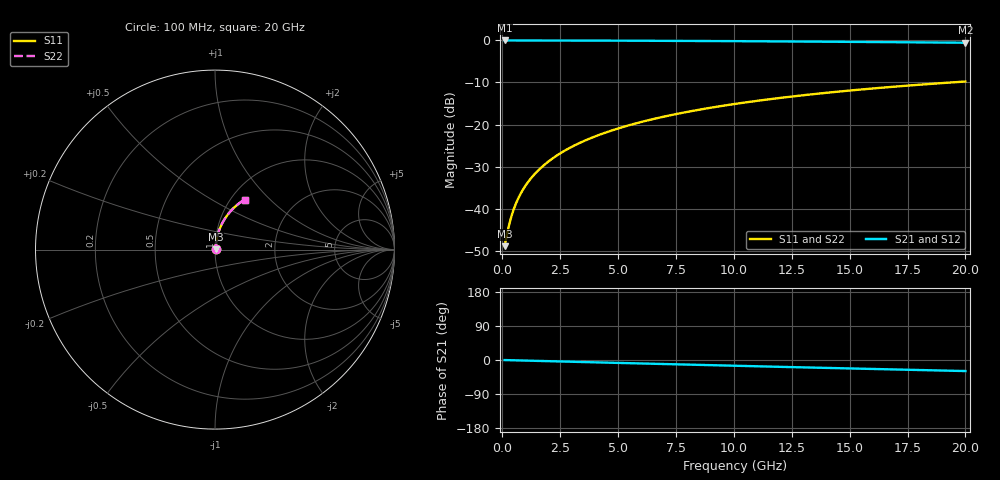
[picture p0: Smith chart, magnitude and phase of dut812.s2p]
! Touchstone file exported from HFSS 2026.1.0
!  File:  C:/ffzhzh/LocalFiles/Ansys_Project_Files/temp_train_BSMRDL_812_1783169898_55132.aedt
!  Generated:  08:59:31 PM Jul  4, 2026
!  Design:  BSMRDL
!  Project:  temp_train_BSMRDL_812_1783169898_55132
! Variables:
!  h_bsmrdl = 2.9um
!  h_ox = 20um
!  h_rdl = 5um
!  h_sub = 80um
!  h_tmrdl = 5um
!  h_tsv = 80um
!  h_via = 3um
!  l_bsmrdl = 366.78um
!  l_sub = 766.78um
!  l_tmrdl = 200um
!  m_sub = 200um
!  pitch = 45.11um
!  r_tsv = 6um
!  s_tmrdl = 10um
!  w_bsmrdl = 15.75um
!  w_sub = 500um
!  w_tmrdl = 12um
!  x_tsv_center1 = 206um
!  x_tsv_center2 = 588.53um
!  x_tsv_center3 = 800.53um
!  x_tsv_center4 = 1183.06um
!  x_tsv_center5 = 1395.06um
!  x_tsv_center6 = 1777.59um
# GHz S MA R 50.000000
! Terminal data exported
! Port[1] = BSM_RDL1_1_T1
! Port[2] = BSM_RDL1_1_T2
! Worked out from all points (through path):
!   200 points, 100 MHz to 20 GHz, reference 50 ohm
!   highest |S21| = -0.03 dB at 100 MHz (marker M1); lowest = -0.6 dB at 20 GHz (marker M2)
!   group delay of S21, straight-line fit = 4.06 ps
!   lowest |S11| = -48.9 dB at 100 MHz (marker M3), VSWR 1.01, Z = 50.3 + j0.193 ohm
!   |S11| at or under -10 dB: start of sweep to 19.39 GHz
!   |S22| runs from -48.9 to -9.8 dB; largest |S21 - S12| = 2.2e-15
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0.1  0.003594 32.3  0.997 -0.2  0.997 -0.2  0.003594 32.3
! Gamma 0 0 0 0
! Port Impedance 50 0 50 0
0.2  0.004924 50.9  0.9969 -0.3  0.9969 -0.3  0.004924 50.9
0.3  0.006533 60.6  0.9968 -0.5  0.9968 -0.5  0.006533 60.6
0.4  0.008236 66.2  0.9967 -0.6  0.9967 -0.6  0.008236 66.2
0.5  0.00997 69.8  0.9966 -0.8  0.9966 -0.8  0.00997 69.8
0.6  0.01172 72.3  0.9966 -0.9  0.9966 -0.9  0.01172 72.3
0.8  0.01523 75.5  0.9964 -1.3  0.9964 -1.3  0.01523 75.5
1.1  0.02052 78.2  0.9962 -1.7  0.9962 -1.7  0.02052 78.2
1.3  0.02407 79.2  0.9961 -2.0  0.9961 -2.0  0.02407 79.2
1.6  0.0294 80.2  0.9958 -2.5  0.9958 -2.5  0.0294 80.2
2.1  0.03832 81.0  0.9954 -3.2  0.9954 -3.2  0.03832 81.0
2.7  0.04904 81.2  0.9948 -4.2  0.9948 -4.2  0.04904 81.2
3.5  0.06329 80.9  0.9939 -5.4  0.9939 -5.4  0.06329 80.9
4.2  0.07571 80.3  0.9928 -6.5  0.9928 -6.5  0.07571 80.3
5  0.08981 79.4  0.9914 -7.7  0.9914 -7.7  0.08981 79.4
5.9  0.1055 78.3  0.9896 -9.0  0.9896 -9.0  0.1055 78.3
6.8  0.1211 77.2  0.9875 -10.4  0.9875 -10.4  0.1211 77.2
8.3  0.1467 75.1  0.9835 -12.6  0.9835 -12.6  0.1467 75.1
10.1  0.1766 72.7  0.9779 -15.3  0.9779 -15.3  0.1766 72.6
13.4  0.2291 68.1  0.966 -20.1  0.966 -20.1  0.2291 68.1
16.7  0.2785 63.6  0.9521 -24.7  0.9521 -24.7  0.2785 63.6
20  0.3244 59.3  0.9369 -29.2  0.9369 -29.2  0.3244 59.2
